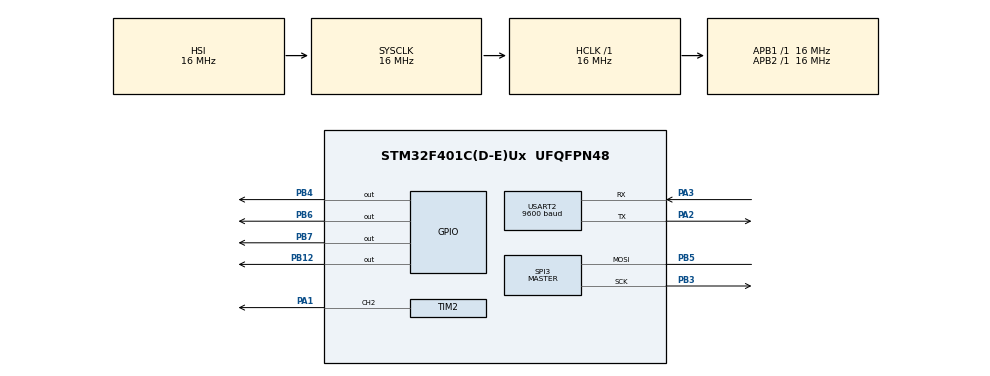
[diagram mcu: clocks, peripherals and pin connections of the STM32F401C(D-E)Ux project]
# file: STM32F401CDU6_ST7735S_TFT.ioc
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Mcu.Family=STM32F4
Mcu.Name=STM32F401C(D-E)Ux
Mcu.Package=UFQFPN48
NVIC.PriorityGroup=NVIC_PRIORITYGROUP_4
NVIC.USART2_IRQn=true\:0\:0\:false\:false\:true\:true\:true\:true
PA1.Signal=S_TIM2_CH2
PA2.Mode=Asynchronous
PA2.Signal=USART2_TX
PA3.Mode=Asynchronous
PA3.Signal=USART2_RX
PB12.Signal=GPIO_Output
PB3.Mode=Simplex_Bidirectional_Master
PB3.Signal=SPI3_SCK
PB4.Signal=GPIO_Output
PB5.Mode=Simplex_Bidirectional_Master
PB5.Signal=SPI3_MOSI
PB6.Signal=GPIO_Output
PB7.Signal=GPIO_Output
PH0\ -\ OSC_IN.Mode=HSE-External-Oscillator
PH0\ -\ OSC_IN.Signal=RCC_OSC_IN
PH1\ -\ OSC_OUT.Mode=HSE-External-Oscillator
PH1\ -\ OSC_OUT.Signal=RCC_OSC_OUT
ProjectManager.HeapSize=0x200
ProjectManager.StackSize=0x400
ProjectManager.TargetToolchain=STM32CubeIDE
RCC.AHBFreq_Value=16000000
RCC.APB1Freq_Value=16000000
RCC.APB2Freq_Value=16000000
RCC.CortexFreq_Value=16000000
RCC.HSE_VALUE=25000000
RCC.HSI_VALUE=16000000
RCC.LSE_VALUE=32768
RCC.SYSCLKFreq_VALUE=16000000
RCC.VCOOutputFreq_Value=192000000
SH.S_TIM2_CH2.0=TIM2_CH2,PWM Generation2 CH2
SPI3.BaudRatePrescaler=SPI_BAUDRATEPRESCALER_32
SPI3.Direction=SPI_DIRECTION_1LINE
SPI3.Mode=SPI_MODE_MASTER
SPI3.VirtualType=VM_MASTER
TIM2.AutoReloadPreload=TIM_AUTORELOAD_PRELOAD_ENABLE
TIM2.Channel-PWM\ Generation2\ CH2=TIM_CHANNEL_2
TIM2.Period=500
TIM2.Prescaler=25000-1
USART2.BaudRate=9600
USART2.Mode=MODE_RX
USART2.VirtualMode=VM_ASYNC
VP_TIM2_VS_ClockSourceINT.Mode=Internal
board=custom

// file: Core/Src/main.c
/* USER CODE BEGIN Header */
/**
  ******************************************************************************
  * @file           : main.c
  * @brief          : Main program body
  ******************************************************************************
  * @attention
  *
  * Copyright (c) 2024 STMicroelectronics.
  * All rights reserved.
  *
  * This software is licensed under terms that can be found in the LICENSE file
  * in the root directory of this software component.
  * If no LICENSE file comes with this software, it is provided AS-IS.
  *
  ******************************************************************************
  */
/* USER CODE END Header */
#include "main.h"

/* USER CODE BEGIN Includes */
#include "st7735.h"
#include "fonts.h"
#include "testimg.h"
/* USER CODE END Includes */

SPI_HandleTypeDef hspi3;

TIM_HandleTypeDef htim2;

UART_HandleTypeDef huart2;

/* USER CODE BEGIN PV */
static uint8_t data;
/* USER CODE END PV */

void SystemClock_Config(void);
static void MX_GPIO_Init(void);
static void MX_SPI3_Init(void);
static void MX_TIM2_Init(void);
static void MX_USART2_UART_Init(void);

int main(void)
{

  /* MCU Configuration--------------------------------------------------------*/

  /* Reset of all peripherals, Initializes the Flash interface and the Systick. */
  HAL_Init();

  /* Configure the system clock */
  SystemClock_Config();

  /* Initialize all configured peripherals */
  MX_GPIO_Init();
  MX_SPI3_Init();
  MX_TIM2_Init();
  MX_USART2_UART_Init();
  /* USER CODE BEGIN 2 */
  ST7735_Init();
  ST7735_FillScreen(ST7735_BLACK);
  /* Start PWM signal generation on TIM2 Channel 2 */
  HAL_TIM_PWM_Start(&htim2, TIM_CHANNEL_2);
  HAL_UART_Receive_IT(&huart2,&data,1);
  __HAL_TIM_SET_COMPARE(&htim2, TIM_CHANNEL_2, 375); // Set duty cycle to 75%
  /* USER CODE END 2 */

  /* Infinite loop */
  while (1)
  {

  }
}

void SystemClock_Config(void)
{
  RCC_OscInitTypeDef RCC_OscInitStruct = {0};
  RCC_ClkInitTypeDef RCC_ClkInitStruct = {0};

  /** Configure the main internal regulator output voltage
  */
  __HAL_RCC_PWR_CLK_ENABLE();
  __HAL_PWR_VOLTAGESCALING_CONFIG(PWR_REGULATOR_VOLTAGE_SCALE2);

  /** Initializes the RCC Oscillators according to the specified parameters
  * in the RCC_OscInitTypeDef structure.
  */
  RCC_OscInitStruct.OscillatorType = RCC_OSCILLATORTYPE_HSI;
  RCC_OscInitStruct.HSIState = RCC_HSI_ON;
  RCC_OscInitStruct.HSICalibrationValue = RCC_HSICALIBRATION_DEFAULT;
  RCC_OscInitStruct.PLL.PLLState = RCC_PLL_NONE;
  if (HAL_RCC_OscConfig(&RCC_OscInitStruct) != HAL_OK)
  {
    Error_Handler();
  }

  /** Initializes the CPU, AHB and APB buses clocks
  */
  RCC_ClkInitStruct.ClockType = RCC_CLOCKTYPE_HCLK|RCC_CLOCKTYPE_SYSCLK
                              |RCC_CLOCKTYPE_PCLK1|RCC_CLOCKTYPE_PCLK2;
  RCC_ClkInitStruct.SYSCLKSource = RCC_SYSCLKSOURCE_HSI;
  RCC_ClkInitStruct.AHBCLKDivider = RCC_SYSCLK_DIV1;
  RCC_ClkInitStruct.APB1CLKDivider = RCC_HCLK_DIV1;
  RCC_ClkInitStruct.APB2CLKDivider = RCC_HCLK_DIV1;

  if (HAL_RCC_ClockConfig(&RCC_ClkInitStruct, FLASH_LATENCY_0) != HAL_OK)
  {
    Error_Handler();
  }
}

static void MX_SPI3_Init(void)
{

  /* SPI3 parameter configuration*/
  hspi3.Instance = SPI3;
  hspi3.Init.Mode = SPI_MODE_MASTER;
  hspi3.Init.Direction = SPI_DIRECTION_1LINE;
  hspi3.Init.DataSize = SPI_DATASIZE_8BIT;
  hspi3.Init.CLKPolarity = SPI_POLARITY_LOW;
  hspi3.Init.CLKPhase = SPI_PHASE_1EDGE;
  hspi3.Init.NSS = SPI_NSS_SOFT;
  hspi3.Init.BaudRatePrescaler = SPI_BAUDRATEPRESCALER_32;
  hspi3.Init.FirstBit = SPI_FIRSTBIT_MSB;
  hspi3.Init.TIMode = SPI_TIMODE_DISABLE;
  hspi3.Init.CRCCalculation = SPI_CRCCALCULATION_DISABLE;
  hspi3.Init.CRCPolynomial = 10;
  if (HAL_SPI_Init(&hspi3) != HAL_OK)
  {
    Error_Handler();
  }

}

static void MX_TIM2_Init(void)
{

  TIM_ClockConfigTypeDef sClockSourceConfig = {0};
  TIM_MasterConfigTypeDef sMasterConfig = {0};
  TIM_OC_InitTypeDef sConfigOC = {0};

  htim2.Instance = TIM2;
  htim2.Init.Prescaler = 25000-1;
  htim2.Init.CounterMode = TIM_COUNTERMODE_UP;
  htim2.Init.Period = 500;
  htim2.Init.ClockDivision = TIM_CLOCKDIVISION_DIV1;
  htim2.Init.AutoReloadPreload = TIM_AUTORELOAD_PRELOAD_ENABLE;
  if (HAL_TIM_Base_Init(&htim2) != HAL_OK)
  {
    Error_Handler();
  }
  sClockSourceConfig.ClockSource = TIM_CLOCKSOURCE_INTERNAL;
  if (HAL_TIM_ConfigClockSource(&htim2, &sClockSourceConfig) != HAL_OK)
  {
    Error_Handler();
  }
  if (HAL_TIM_PWM_Init(&htim2) != HAL_OK)
  {
    Error_Handler();
  }
  sMasterConfig.MasterOutputTrigger = TIM_TRGO_RESET;
  sMasterConfig.MasterSlaveMode = TIM_MASTERSLAVEMODE_DISABLE;
  if (HAL_TIMEx_MasterConfigSynchronization(&htim2, &sMasterConfig) != HAL_OK)
  {
    Error_Handler();
  }
  sConfigOC.OCMode = TIM_OCMODE_PWM1;
  sConfigOC.Pulse = 0;
  sConfigOC.OCPolarity = TIM_OCPOLARITY_HIGH;
  sConfigOC.OCFastMode = TIM_OCFAST_DISABLE;
  if (HAL_TIM_PWM_ConfigChannel(&htim2, &sConfigOC, TIM_CHANNEL_2) != HAL_OK)
  {
    Error_Handler();
  }
  HAL_TIM_MspPostInit(&htim2);

}

static void MX_USART2_UART_Init(void)
{

  huart2.Instance = USART2;
  huart2.Init.BaudRate = 9600;
  huart2.Init.WordLength = UART_WORDLENGTH_8B;
  huart2.Init.StopBits = UART_STOPBITS_1;
  huart2.Init.Parity = UART_PARITY_NONE;
  huart2.Init.Mode = UART_MODE_RX;
  huart2.Init.HwFlowCtl = UART_HWCONTROL_NONE;
  huart2.Init.OverSampling = UART_OVERSAMPLING_16;
  if (HAL_UART_Init(&huart2) != HAL_OK)
  {
    Error_Handler();
  }

}

static void MX_GPIO_Init(void)
{
  GPIO_InitTypeDef GPIO_InitStruct = {0};

  /* GPIO Ports Clock Enable */
  __HAL_RCC_GPIOH_CLK_ENABLE();
  __HAL_RCC_GPIOA_CLK_ENABLE();
  __HAL_RCC_GPIOB_CLK_ENABLE();

  /*Configure GPIO pin Output Level */
  HAL_GPIO_WritePin(GPIOB, GPIO_PIN_12|GPIO_PIN_4|GPIO_PIN_6|GPIO_PIN_7, GPIO_PIN_RESET);

  /*Configure GPIO pins : PB12 PB4 PB6 PB7 */
  GPIO_InitStruct.Pin = GPIO_PIN_12|GPIO_PIN_4|GPIO_PIN_6|GPIO_PIN_7;
  GPIO_InitStruct.Mode = GPIO_MODE_OUTPUT_PP;
  GPIO_InitStruct.Pull = GPIO_NOPULL;
  GPIO_InitStruct.Speed = GPIO_SPEED_FREQ_LOW;
  HAL_GPIO_Init(GPIOB, &GPIO_InitStruct);

}

/* USER CODE BEGIN 4 */
void HAL_UART_RxCpltCallback(UART_HandleTypeDef *huart)
{
    // Check the received character
    if (huart->Instance == USART2 && huart->RxXferCount == 0) {
        // Do something with received data
        if (data == 'y') {
        	HAL_TIM_PWM_Stop(&htim2, TIM_CHANNEL_2);
        	ST7735_DrawImage(0, 0, 128, 160, (const uint16_t*)test_img_128x160);
        } else if (data == 'n') {
        	HAL_TIM_PWM_Start(&htim2, TIM_CHANNEL_2);
        	ST7735_FillScreen(ST7735_CYAN);
        	ST7735_WriteString(0, 20, "P W M", Font_16x26, ST7735_BLACK, ST7735_CYAN);
        	ST7735_WriteString(0, 80, "Stopped", Font_16x26, ST7735_BLACK, ST7735_CYAN);
        }
        HAL_UART_Receive_IT(&huart2,&data,1);
        // Add more conditions as needed
    }
}

/* USER CODE END 4 */

void Error_Handler(void)
{
  __disable_irq();
  while (1)
  {
  }
}
